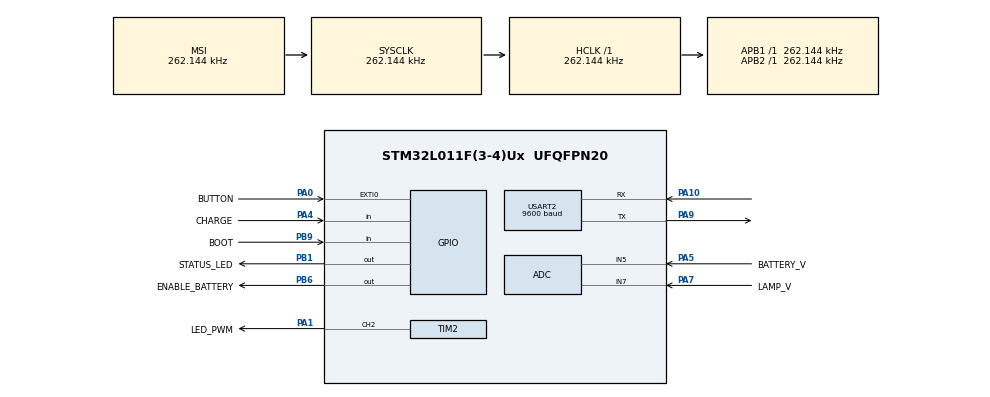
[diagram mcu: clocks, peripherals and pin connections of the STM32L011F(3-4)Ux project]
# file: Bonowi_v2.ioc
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ADC.ContinuousConvMode=ENABLE
ADC.SamplingTime=ADC_SAMPLETIME_12CYCLES_5
ADC.ScanConvMode=ADC_SCAN_DIRECTION_FORWARD
Mcu.Family=STM32L0
Mcu.Name=STM32L011F(3-4)Ux
Mcu.Package=UFQFPN20
NVIC.EXTI0_1_IRQn=true\:0\:0\:false\:false\:true\:true\:true
PA0-CK_IN.GPIO_Label=BUTTON
PA0-CK_IN.Signal=GPXTI0
PA1.GPIO_Label=LED_PWM
PA1.Signal=S_TIM2_CH2
PA10.Mode=Asynchronous
PA10.Signal=USART2_RX
PA13.Mode=Serial_Wire
PA13.Signal=SYS_SWDIO
PA14.Mode=Serial_Wire
PA14.Signal=SYS_SWCLK
PA4.GPIO_Label=CHARGE
PA4.GPIO_PuPd=GPIO_PULLUP
PA4.Signal=GPIO_Input
PA5.GPIO_Label=BATTERY_V
PA5.Mode=IN5
PA5.Signal=ADC_IN5
PA7.GPIO_Label=LAMP_V
PA7.Mode=IN7
PA7.Signal=ADC_IN7
PA9.Mode=Asynchronous
PA9.Signal=USART2_TX
PB1.GPIO_Label=STATUS_LED
PB1.Signal=GPIO_Output
PB6.GPIO_Label=ENABLE_BATTERY
PB6.Signal=GPIO_Output
PB9-BOOT0.GPIO_Label=BOOT
PB9-BOOT0.Signal=GPIO_Input
ProjectManager.HeapSize=0x200
ProjectManager.StackSize=0x400
ProjectManager.TargetToolchain=MDK-ARM V5.27
RCC.ADCFreq_Value=16000000
RCC.AHBFreq_Value=262144
RCC.APB1Freq_Value=262144
RCC.APB1TimFreq_Value=262144
RCC.APB2Freq_Value=262144
RCC.APB2TimFreq_Value=262144
RCC.HCLKFreq_Value=262144
RCC.HSE_VALUE=8000000
RCC.HSI16_VALUE=16000000
RCC.HSI_VALUE=16000000
RCC.LSE_VALUE=32768
RCC.MSIClockRange=RCC_MSIRANGE_2
RCC.MSI_VALUE=262144
RCC.SYSCLKFreq_VALUE=262144
RCC.VCOOutputFreq_Value=48000000
SH.S_TIM2_CH2.0=TIM2_CH2,PWM Generation2 CH2
SYS.PVDLevel=PWR_PVDLEVEL_6
TIM2.AutoReloadPreload=TIM_AUTORELOAD_PRELOAD_ENABLE
TIM2.Channel-PWM\ Generation2\ CH2=TIM_CHANNEL_2
TIM2.Period=50
TIM2.Prescaler=1
USART2.BaudRate=9600
USART2.VirtualMode-Asynchronous=VM_ASYNC
VP_SYS_V_PVD_IN.Mode=Mode_PVD_Int
VP_TIM2_VS_ClockSourceINT.Mode=Internal
board=custom

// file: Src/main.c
/* USER CODE BEGIN Header */
/**
  ******************************************************************************
  * @file           : main.c
  * @brief          : Main program body
  ******************************************************************************
  * @attention
  *
  * <h2><center>&copy; Copyright (c) 2019 STMicroelectronics.
  * All rights reserved.</center></h2>
  *
  * This software component is licensed by ST under BSD 3-Clause license,
  * the "License"; You may not use this file except in compliance with the
  * License. You may obtain a copy of the License at:
  *                        opensource.org/licenses/BSD-3-Clause
  *
  ******************************************************************************
  */
/* USER CODE END Header */

#include "main.h"

/* USER CODE BEGIN PTD */

typedef struct {
	uint16_t maximumModes;
	uint16_t duty[5];
	uint16_t strobe[5];
	uint16_t strobeSpeed;
} operationMode;

//operationMode standard = 				{1, {0, 10, 0, 0, 0}, 				{0}, 							0};
operationMode programmingMode = {4, {0, 1, 2, 3, 3}, 			{0, 0, 0, 0, 1}, 20};
operationMode strobeMode = 			{4, {0, 12, 25, 50, 25},	{0, 0, 0, 0, 1},	8};
operationMode fourModes = 			{3, {0, 12, 25, 50, 0},		{0}, 							0};
operationMode slowMode = 				{2, {0, 12, 50, 0, 0}, 		{0}, 							8};

operationMode activeMode;
uint16_t selectCap;
/* USER CODE END PTD */

/* USER CODE BEGIN PD */
#define RESET_THRESOLD 2 << 8
/* USER CODE END PD */

ADC_HandleTypeDef hadc;

TIM_HandleTypeDef htim2;

UART_HandleTypeDef huart2;

/* USER CODE BEGIN PV */

// Mode changing variables
extern uint16_t select;
uint16_t select_old;
uint16_t strobeOn;
uint16_t changeStrobe;
TIM_OC_InitTypeDef sConfigOC = {0};
uint16_t cap;

//Reset stuff
uint16_t platineReseted;
uint16_t resetPlatine;

//ADC variables
uint32_t lampTemperature;
uint32_t batteryVoltage;

//Battery blinky;
uint16_t batteryCritical;
uint16_t timeToBlink;

//USART variables and arrays
uint8_t RxBuf[1];
uint8_t TxSuccess[]={"#Success!"};
uint8_t TxBadInput[]={"#Mode not changed: bad input"};
uint8_t badinput=3;

//Flash
const uint32_t modeaddr=0x8080000;
uint8_t firstmode=0x33;

/* USER CODE END PV */

void SystemClock_Config(void);
static void MX_GPIO_Init(void);
static void MX_TIM2_Init(void);
static void MX_ADC_Init(void);
static void MX_USART2_UART_Init(void);

int main(void)
{
  /* USER CODE BEGIN 1 */

	//für erstmaliges Programmieren
	if(*(uint32_t *)modeaddr==0x00){
		HAL_FLASHEx_DATAEEPROM_Unlock();
		HAL_FLASHEx_DATAEEPROM_Program(FLASH_TYPEPROGRAMDATA_BYTE, modeaddr, firstmode);
		HAL_FLASHEx_DATAEEPROM_Lock();
	}

	//set the active Mode
	if(*(uint32_t *)modeaddr==0x11){
		activeMode = programmingMode;
	} else if(*(uint32_t *)modeaddr==0x22){
		activeMode = strobeMode;
	} else if(*(uint32_t *)modeaddr==0x33){
		activeMode = fourModes;
	} else if(*(uint32_t *)modeaddr==0x44) {
		activeMode = slowMode;
	} else {
		activeMode = fourModes;
	}

  /* USER CODE END 1 */

  /* MCU Configuration--------------------------------------------------------*/

  /* Reset of all peripherals, Initializes the Flash interface and the Systick. */
  HAL_Init();

  /* Configure the system clock */
  SystemClock_Config();

  /* Initialize all configured peripherals */
  MX_GPIO_Init();
  MX_TIM2_Init();
  MX_ADC_Init();
  MX_USART2_UART_Init();
  /* USER CODE BEGIN 2 */

	// Reset Stuff
	platineReseted = 0;
	resetPlatine = 0;

	// PWM stuff
	selectCap = activeMode.maximumModes;

	sConfigOC.OCMode = TIM_OCMODE_PWM1;
	sConfigOC.Pulse = 0;
	sConfigOC.OCPolarity = TIM_OCPOLARITY_HIGH;
	sConfigOC.OCFastMode = TIM_OCFAST_ENABLE;
	select_old = 0;
	HAL_TIM_PWM_ConfigChannel(&htim2, &sConfigOC, TIM_CHANNEL_2);

	// Low Power stuff
	HAL_PWREx_EnableUltraLowPower();
	HAL_PWREx_EnableFastWakeUp();

	// ADC stuff
	lampTemperature = 0;

	// Strobe stuff
	strobeOn = 0;
	changeStrobe = 0;

  /* USER CODE END 2 */

  /* Infinite loop */
  while (1)
  {

    /* USER CODE BEGIN 3 */

			if(HAL_GPIO_ReadPin(BOOT_GPIO_Port, BOOT_Pin) == GPIO_PIN_SET){
				HAL_TIM_PWM_Stop(&htim2, TIM_CHANNEL_2);
				while(HAL_GPIO_ReadPin(BOOT_GPIO_Port, BOOT_Pin) == GPIO_PIN_SET){
					HAL_UART_AbortReceive(&huart2);
					if(HAL_UART_Receive(&huart2, RxBuf, 1,1)== HAL_OK){
						switch(RxBuf[0]){
							case '1':
								activeMode = programmingMode;
								selectCap = activeMode.maximumModes;
								select = 1;
								badinput = 0;
								HAL_FLASH_Unlock();
								HAL_FLASHEx_DATAEEPROM_Unlock();
								HAL_FLASHEx_DATAEEPROM_Erase(modeaddr);
								HAL_FLASHEx_DATAEEPROM_Program(FLASH_TYPEPROGRAMDATA_BYTE, modeaddr, 0x11);
								HAL_FLASHEx_DATAEEPROM_Lock();
								break;
							case '2':
								activeMode = strobeMode;
								selectCap = activeMode.maximumModes;
								select = 1;
								badinput = 0;
								HAL_FLASH_Unlock();
								HAL_FLASHEx_DATAEEPROM_Unlock();
								HAL_FLASHEx_DATAEEPROM_Erase(modeaddr);
								HAL_FLASHEx_DATAEEPROM_Program(FLASH_TYPEPROGRAMDATA_BYTE, modeaddr, 0x22);
								HAL_FLASHEx_DATAEEPROM_Lock();
								break;
							case '3':
								activeMode = fourModes;
								selectCap = activeMode.maximumModes;
								select = 1;
								badinput = 0;
								HAL_FLASH_Unlock();
								HAL_FLASHEx_DATAEEPROM_Unlock();
								HAL_FLASHEx_DATAEEPROM_Erase(modeaddr);
								HAL_FLASHEx_DATAEEPROM_Program(FLASH_TYPEPROGRAMDATA_BYTE, modeaddr, 0x33);
								HAL_FLASHEx_DATAEEPROM_Lock();
								break;
							case '4':
								activeMode = slowMode;
								selectCap = activeMode.maximumModes;
								select = 1;
								badinput = 0;
								HAL_FLASH_Unlock();
								HAL_FLASHEx_DATAEEPROM_Unlock();
								HAL_FLASHEx_DATAEEPROM_Erase(modeaddr);
								HAL_FLASHEx_DATAEEPROM_Program(FLASH_TYPEPROGRAMDATA_BYTE, modeaddr, 0x44);
								HAL_FLASHEx_DATAEEPROM_Lock();
								break;
	 						default :		badinput = 1;	break;
						}
						if(badinput){
							HAL_UART_Transmit(&huart2, TxBadInput, sizeof(TxBadInput)/sizeof(TxBadInput[0])-1,100);
						}else{
							HAL_UART_Transmit(&huart2, TxSuccess, sizeof(TxSuccess)/sizeof(TxSuccess[0])-1,100);
						}
				}
			}
		}

		if (batteryCritical) {
			timeToBlink--;

			if (select != 0) {
				batteryCritical = 0;
				continue;
			}

			if (timeToBlink == 0) {
				HAL_PWR_EnterSTOPMode(PWR_LOWPOWERREGULATOR_ON, PWR_STOPENTRY_WFI);
				batteryCritical = 0;
				HAL_GPIO_WritePin(STATUS_LED_GPIO_Port, STATUS_LED_Pin, GPIO_PIN_RESET);
				select = 1;
			}

			if(timeToBlink % 40 == 0) {
				if ((HAL_GPIO_ReadPin(STATUS_LED_GPIO_Port, STATUS_LED_Pin) == GPIO_PIN_SET)) {
					HAL_GPIO_WritePin(STATUS_LED_GPIO_Port, STATUS_LED_Pin, GPIO_PIN_RESET);
				} else {
					HAL_GPIO_WritePin(STATUS_LED_GPIO_Port, STATUS_LED_Pin, GPIO_PIN_SET);
				}
			}

			continue;
		}

		// Temperature monitoring
		HAL_GPIO_WritePin(ENABLE_BATTERY_GPIO_Port, ENABLE_BATTERY_Pin, GPIO_PIN_RESET);
		for (int i = 0; i < 2; i++) {
			if (i == 1) {
				hadc.Instance->CHSELR = (uint32_t)(ADC_CHANNEL_5 & ADC_CHANNEL_MASK);
			} else {
				hadc.Instance->CHSELR = (uint32_t)(ADC_CHANNEL_7 & ADC_CHANNEL_MASK);
			}

			HAL_ADC_Start(&hadc);
			if (HAL_ADC_PollForConversion(&hadc, 1000) == HAL_OK) {
				if (i == 0) {
					lampTemperature = HAL_ADC_GetValue(&hadc);
				} else {
					batteryVoltage = HAL_ADC_GetValue(&hadc);
				}
			}
		}
		HAL_ADC_Stop(&hadc);
		HAL_GPIO_WritePin(ENABLE_BATTERY_GPIO_Port, ENABLE_BATTERY_Pin, GPIO_PIN_SET);

		// Depending on the Temperature set a maximum cap for the LED power
		if (lampTemperature > 2873) {
			cap = 1;
		} else if (lampTemperature > 2637) {
			cap = 2;
		} else{
			cap = activeMode.maximumModes;
		}

		if (select > cap) {
			select = cap;
		}

		// Second status of the reset, option, so the stopmode will be engaged
		if (platineReseted == 2) {
			platineReseted = 0;
			select = 0;
			select_old = 1;
		}

		// The main part of changing the light
		if ((select_old != select) || (!changeStrobe && activeMode.strobe[select])) {
			select_old = select;
			HAL_TIM_PWM_Stop(&htim2, TIM_CHANNEL_2);

			if (select == 0 && !platineReseted) {

				if (batteryVoltage < 2250) {
					batteryCritical = 1;
					timeToBlink = 500;
				} else {
					HAL_PWR_EnterSTOPMode(PWR_LOWPOWERREGULATOR_ON, PWR_STOPENTRY_WFI);
					select = 1;
				}
			} else {

				if (!activeMode.strobe[select]) {
					sConfigOC.Pulse = activeMode.duty[select];
				} else {
					if (strobeOn) {

						sConfigOC.Pulse = 0;
						strobeOn = 0;
					} else {

						sConfigOC.Pulse = activeMode.duty[select];
						strobeOn = 1;
					}

					changeStrobe = activeMode.strobeSpeed;
				}

				HAL_TIM_PWM_ConfigChannel(&htim2, &sConfigOC, TIM_CHANNEL_2);
				HAL_TIM_PWM_Start(&htim2, TIM_CHANNEL_2);
			}
		}

		if (changeStrobe) {
			changeStrobe--;
		}

		// Reset code
		if ((HAL_GPIO_ReadPin(BUTTON_GPIO_Port, BUTTON_Pin) == GPIO_PIN_RESET) && !platineReseted) {
			resetPlatine++;

			if (resetPlatine > RESET_THRESOLD) {
				// This is for hard reset
				//NVIC_SystemReset();

				platineReseted = 1;
				select_old = 1;
				select = 0;
			}
		} else {
			resetPlatine = 0;
		}

		HAL_GPIO_WritePin(STATUS_LED_GPIO_Port, STATUS_LED_Pin, GPIO_PIN_SET);
  }
  /* USER CODE END 3 */
}

void SystemClock_Config(void)
{
  RCC_OscInitTypeDef RCC_OscInitStruct = {0};
  RCC_ClkInitTypeDef RCC_ClkInitStruct = {0};
  RCC_PeriphCLKInitTypeDef PeriphClkInit = {0};

  /** Configure the main internal regulator output voltage
  */
  __HAL_PWR_VOLTAGESCALING_CONFIG(PWR_REGULATOR_VOLTAGE_SCALE1);
  /** Initializes the CPU, AHB and APB busses clocks
  */
  RCC_OscInitStruct.OscillatorType = RCC_OSCILLATORTYPE_MSI;
  RCC_OscInitStruct.MSIState = RCC_MSI_ON;
  RCC_OscInitStruct.MSICalibrationValue = 0;
  RCC_OscInitStruct.MSIClockRange = RCC_MSIRANGE_2;
  RCC_OscInitStruct.PLL.PLLState = RCC_PLL_NONE;
  if (HAL_RCC_OscConfig(&RCC_OscInitStruct) != HAL_OK)
  {
    Error_Handler();
  }
  /** Initializes the CPU, AHB and APB busses clocks
  */
  RCC_ClkInitStruct.ClockType = RCC_CLOCKTYPE_HCLK|RCC_CLOCKTYPE_SYSCLK
                              |RCC_CLOCKTYPE_PCLK1|RCC_CLOCKTYPE_PCLK2;
  RCC_ClkInitStruct.SYSCLKSource = RCC_SYSCLKSOURCE_MSI;
  RCC_ClkInitStruct.AHBCLKDivider = RCC_SYSCLK_DIV1;
  RCC_ClkInitStruct.APB1CLKDivider = RCC_HCLK_DIV1;
  RCC_ClkInitStruct.APB2CLKDivider = RCC_HCLK_DIV1;

  if (HAL_RCC_ClockConfig(&RCC_ClkInitStruct, FLASH_LATENCY_0) != HAL_OK)
  {
    Error_Handler();
  }
  PeriphClkInit.PeriphClockSelection = RCC_PERIPHCLK_USART2;
  PeriphClkInit.Usart2ClockSelection = RCC_USART2CLKSOURCE_PCLK1;
  if (HAL_RCCEx_PeriphCLKConfig(&PeriphClkInit) != HAL_OK)
  {
    Error_Handler();
  }
}

static void MX_ADC_Init(void)
{

  ADC_ChannelConfTypeDef sConfig = {0};

  /** Configure the global features of the ADC (Clock, Resolution, Data Alignment and number of conversion)
  */
  hadc.Instance = ADC1;
  hadc.Init.OversamplingMode = DISABLE;
  hadc.Init.ClockPrescaler = ADC_CLOCK_SYNC_PCLK_DIV1;
  hadc.Init.Resolution = ADC_RESOLUTION_12B;
  hadc.Init.SamplingTime = ADC_SAMPLETIME_12CYCLES_5;
  hadc.Init.ScanConvMode = ADC_SCAN_DIRECTION_FORWARD;
  hadc.Init.DataAlign = ADC_DATAALIGN_RIGHT;
  hadc.Init.ContinuousConvMode = ENABLE;
  hadc.Init.DiscontinuousConvMode = DISABLE;
  hadc.Init.ExternalTrigConvEdge = ADC_EXTERNALTRIGCONVEDGE_NONE;
  hadc.Init.ExternalTrigConv = ADC_SOFTWARE_START;
  hadc.Init.DMAContinuousRequests = DISABLE;
  hadc.Init.EOCSelection = ADC_EOC_SINGLE_CONV;
  hadc.Init.Overrun = ADC_OVR_DATA_PRESERVED;
  hadc.Init.LowPowerAutoWait = DISABLE;
  hadc.Init.LowPowerFrequencyMode = DISABLE;
  hadc.Init.LowPowerAutoPowerOff = DISABLE;
  if (HAL_ADC_Init(&hadc) != HAL_OK)
  {
    Error_Handler();
  }
  /** Configure for the selected ADC regular channel to be converted.
  */
  sConfig.Channel = ADC_CHANNEL_5;
  sConfig.Rank = ADC_RANK_CHANNEL_NUMBER;
  if (HAL_ADC_ConfigChannel(&hadc, &sConfig) != HAL_OK)
  {
    Error_Handler();
  }
  /** Configure for the selected ADC regular channel to be converted.
  */
  sConfig.Channel = ADC_CHANNEL_7;
  if (HAL_ADC_ConfigChannel(&hadc, &sConfig) != HAL_OK)
  {
    Error_Handler();
  }

}

static void MX_TIM2_Init(void)
{

  TIM_ClockConfigTypeDef sClockSourceConfig = {0};
  TIM_MasterConfigTypeDef sMasterConfig = {0};
  TIM_OC_InitTypeDef sConfigOC = {0};

  htim2.Instance = TIM2;
  htim2.Init.Prescaler = 1;
  htim2.Init.CounterMode = TIM_COUNTERMODE_UP;
  htim2.Init.Period = 50;
  htim2.Init.ClockDivision = TIM_CLOCKDIVISION_DIV1;
  htim2.Init.AutoReloadPreload = TIM_AUTORELOAD_PRELOAD_ENABLE;
  if (HAL_TIM_Base_Init(&htim2) != HAL_OK)
  {
    Error_Handler();
  }
  sClockSourceConfig.ClockSource = TIM_CLOCKSOURCE_INTERNAL;
  if (HAL_TIM_ConfigClockSource(&htim2, &sClockSourceConfig) != HAL_OK)
  {
    Error_Handler();
  }
  if (HAL_TIM_PWM_Init(&htim2) != HAL_OK)
  {
    Error_Handler();
  }
  sMasterConfig.MasterOutputTrigger = TIM_TRGO_RESET;
  sMasterConfig.MasterSlaveMode = TIM_MASTERSLAVEMODE_DISABLE;
  if (HAL_TIMEx_MasterConfigSynchronization(&htim2, &sMasterConfig) != HAL_OK)
  {
    Error_Handler();
  }
  sConfigOC.OCMode = TIM_OCMODE_PWM1;
  sConfigOC.Pulse = 0;
  sConfigOC.OCPolarity = TIM_OCPOLARITY_HIGH;
  sConfigOC.OCFastMode = TIM_OCFAST_DISABLE;
  if (HAL_TIM_PWM_ConfigChannel(&htim2, &sConfigOC, TIM_CHANNEL_2) != HAL_OK)
  {
    Error_Handler();
  }
  HAL_TIM_MspPostInit(&htim2);

}

static void MX_USART2_UART_Init(void)
{

  huart2.Instance = USART2;
  huart2.Init.BaudRate = 9600;
  huart2.Init.WordLength = UART_WORDLENGTH_8B;
  huart2.Init.StopBits = UART_STOPBITS_1;
  huart2.Init.Parity = UART_PARITY_NONE;
  huart2.Init.Mode = UART_MODE_TX_RX;
  huart2.Init.HwFlowCtl = UART_HWCONTROL_NONE;
  huart2.Init.OverSampling = UART_OVERSAMPLING_16;
  huart2.Init.OneBitSampling = UART_ONE_BIT_SAMPLE_DISABLE;
  huart2.AdvancedInit.AdvFeatureInit = UART_ADVFEATURE_NO_INIT;
  if (HAL_UART_Init(&huart2) != HAL_OK)
  {
    Error_Handler();
  }

}

static void MX_GPIO_Init(void)
{
  GPIO_InitTypeDef GPIO_InitStruct = {0};

  /* GPIO Ports Clock Enable */
  __HAL_RCC_GPIOA_CLK_ENABLE();
  __HAL_RCC_GPIOB_CLK_ENABLE();

  /*Configure GPIO pin Output Level */
  HAL_GPIO_WritePin(GPIOB, STATUS_LED_Pin|ENABLE_BATTERY_Pin, GPIO_PIN_RESET);

  /*Configure GPIO pin : BUTTON_Pin */
  GPIO_InitStruct.Pin = BUTTON_Pin;
  GPIO_InitStruct.Mode = GPIO_MODE_IT_RISING;
  GPIO_InitStruct.Pull = GPIO_NOPULL;
  HAL_GPIO_Init(BUTTON_GPIO_Port, &GPIO_InitStruct);

  /*Configure GPIO pin : CHARGE_Pin */
  GPIO_InitStruct.Pin = CHARGE_Pin;
  GPIO_InitStruct.Mode = GPIO_MODE_INPUT;
  GPIO_InitStruct.Pull = GPIO_PULLUP;
  HAL_GPIO_Init(CHARGE_GPIO_Port, &GPIO_InitStruct);

  /*Configure GPIO pins : STATUS_LED_Pin ENABLE_BATTERY_Pin */
  GPIO_InitStruct.Pin = STATUS_LED_Pin|ENABLE_BATTERY_Pin;
  GPIO_InitStruct.Mode = GPIO_MODE_OUTPUT_PP;
  GPIO_InitStruct.Pull = GPIO_NOPULL;
  GPIO_InitStruct.Speed = GPIO_SPEED_FREQ_LOW;
  HAL_GPIO_Init(GPIOB, &GPIO_InitStruct);

  /*Configure GPIO pin : BOOT_Pin */
  GPIO_InitStruct.Pin = BOOT_Pin;
  GPIO_InitStruct.Mode = GPIO_MODE_INPUT;
  GPIO_InitStruct.Pull = GPIO_NOPULL;
  HAL_GPIO_Init(BOOT_GPIO_Port, &GPIO_InitStruct);

  /* EXTI interrupt init*/
  HAL_NVIC_SetPriority(EXTI0_1_IRQn, 0, 0);
  HAL_NVIC_EnableIRQ(EXTI0_1_IRQn);

}

void Error_Handler(void)
{
}

/************************ (C) COPYRIGHT STMicroelectronics *****END OF FILE****/
